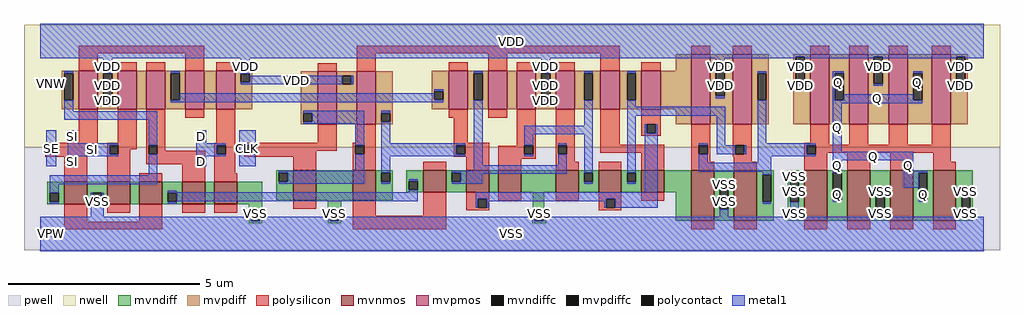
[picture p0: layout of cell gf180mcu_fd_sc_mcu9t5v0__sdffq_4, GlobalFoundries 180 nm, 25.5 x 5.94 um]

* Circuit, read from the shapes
.subckt gf180mcu_fd_sc_mcu9t5v0__sdffq_4 D SE SI CLK Q VDD VNW VPW VSS
XM1 VSS SE n1 VPW nfet_06v0 w=0.58u l=0.6u
XM2 n2 SI VSS VPW nfet_06v0 w=0.58u l=0.6u
XM3 n3 SE n2 VPW nfet_06v0 w=0.58u l=0.6u
XM4 n4 n1 n3 VPW nfet_06v0 w=0.58u l=0.6u
XM5 VSS D n4 VPW nfet_06v0 w=0.58u l=0.6u
XM6 VSS CLK n5 VPW nfet_06v0 w=0.79u l=0.6u
XM7 n6 n5 VSS VPW nfet_06v0 w=0.79u l=0.6u
XM8 n7 n5 n3 VPW nfet_06v0 w=0.58u l=0.6u
XM9 n8 n6 n7 VPW nfet_06v0 w=0.58u l=0.6u
XM10 VSS n9 n8 VPW nfet_06v0 w=0.58u l=0.6u
XM11 n9 n7 VSS VPW nfet_06v0 w=0.58u l=0.6u
XM12 n10 n6 n9 VPW nfet_06v0 w=0.58u l=0.6u
XM13 n11 n5 n10 VPW nfet_06v0 w=0.58u l=0.6u
XM14 VSS n12 n11 VPW nfet_06v0 w=1.32u l=0.6u
XM15 n12 n10 VSS VPW nfet_06v0 w=1.32u l=0.6u
XM16 Q n12 VSS VPW nfet_06v0 w=1.32u l=0.6u m=4
XM17 VDD SE n1 VNW pfet_06v0 w=1u l=0.5u
XM18 n13 SI VDD VNW pfet_06v0 w=1u l=0.5u
XM19 n14 n1 n13 VNW pfet_06v0 w=1u l=0.5u
XM20 n15 SE n14 VNW pfet_06v0 w=1u l=0.5u
XM21 VDD D n15 VNW pfet_06v0 w=1u l=0.5u
XM22 VDD CLK n5 VNW pfet_06v0 w=1.38u l=0.5u
XM23 n6 n5 VDD VNW pfet_06v0 w=1.38u l=0.5u
XM24 n7 n6 n14 VNW pfet_06v0 w=1u l=0.5u
XM25 n16 n5 n7 VNW pfet_06v0 w=1u l=0.5u
XM26 VDD n9 n16 VNW pfet_06v0 w=1u l=0.5u
XM27 n9 n7 VDD VNW pfet_06v0 w=1u l=0.5u
XM28 n10 n5 n9 VNW pfet_06v0 w=1u l=0.5u
XM29 n17 n6 n10 VNW pfet_06v0 w=1u l=0.5u
XM30 VDD n12 n17 VNW pfet_06v0 w=1.83u l=0.5u
XM31 n12 n10 VDD VNW pfet_06v0 w=1.83u l=0.5u
XM32 Q n12 VDD VNW pfet_06v0 w=1.83u l=0.5u m=4
.ends

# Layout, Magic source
magic
tech gf180mcuD
magscale 1 10
<< nwell >>
rect -86 453 5014 1094
<< pwell >>
rect -86 -86 5014 453
<< mvnmos >>
rect 124 156 244 272
rect 348 156 468 272
rect 516 156 636 272
rect 740 156 860 272
rect 908 156 1028 272
rect 1320 175 1440 333
rect 1632 175 1752 333
rect 2000 217 2120 333
rect 2224 217 2344 333
rect 2392 217 2512 333
rect 2692 217 2812 333
rect 2916 217 3036 333
rect 3140 217 3260 333
rect 3400 69 3520 333
rect 3624 69 3744 333
rect 3992 69 4112 333
rect 4216 69 4336 333
rect 4440 69 4560 333
rect 4664 69 4784 333
<< mvpmos >>
rect 200 652 300 852
rect 404 652 504 852
rect 552 652 652 852
rect 756 652 856 852
rect 918 652 1018 852
rect 1448 573 1548 849
rect 1652 573 1752 849
rect 2133 652 2233 852
rect 2340 652 2440 852
rect 2488 652 2588 852
rect 2692 652 2792 852
rect 2926 652 3026 852
rect 3140 652 3240 852
rect 3400 573 3500 939
rect 3618 573 3718 939
rect 4022 573 4122 939
rect 4226 573 4326 939
rect 4432 573 4532 939
rect 4657 573 4757 939
<< mvndiff >>
rect 1232 320 1320 333
rect 1232 274 1245 320
rect 1291 274 1320 320
rect 36 215 124 272
rect 36 169 49 215
rect 95 169 124 215
rect 36 156 124 169
rect 244 215 348 272
rect 244 169 273 215
rect 319 169 348 215
rect 244 156 348 169
rect 468 156 516 272
rect 636 215 740 272
rect 636 169 665 215
rect 711 169 740 215
rect 636 156 740 169
rect 860 156 908 272
rect 1028 156 1160 272
rect 1232 175 1320 274
rect 1440 175 1632 333
rect 1752 320 1840 333
rect 1752 274 1781 320
rect 1827 274 1840 320
rect 1752 175 1840 274
rect 1912 276 2000 333
rect 1912 230 1925 276
rect 1971 230 2000 276
rect 1912 217 2000 230
rect 2120 320 2224 333
rect 2120 274 2149 320
rect 2195 274 2224 320
rect 2120 217 2224 274
rect 2344 217 2392 333
rect 2512 217 2692 333
rect 2812 320 2916 333
rect 2812 274 2841 320
rect 2887 274 2916 320
rect 2812 217 2916 274
rect 3036 320 3140 333
rect 3036 274 3065 320
rect 3111 274 3140 320
rect 3036 217 3140 274
rect 3260 217 3400 333
rect 1088 114 1160 156
rect 1088 68 1101 114
rect 1147 68 1160 114
rect 1088 55 1160 68
rect 1500 114 1572 175
rect 1500 68 1513 114
rect 1559 68 1572 114
rect 1500 55 1572 68
rect 2572 127 2632 217
rect 2572 119 2643 127
rect 2571 114 2643 119
rect 2571 68 2584 114
rect 2630 68 2643 114
rect 3320 69 3400 217
rect 3520 268 3624 333
rect 3520 128 3549 268
rect 3595 128 3624 268
rect 3520 69 3624 128
rect 3744 309 3832 333
rect 3744 169 3773 309
rect 3819 169 3832 309
rect 3744 69 3832 169
rect 3904 309 3992 333
rect 3904 169 3917 309
rect 3963 169 3992 309
rect 3904 69 3992 169
rect 4112 320 4216 333
rect 4112 180 4141 320
rect 4187 180 4216 320
rect 4112 69 4216 180
rect 4336 222 4440 333
rect 4336 82 4365 222
rect 4411 82 4440 222
rect 4336 69 4440 82
rect 4560 320 4664 333
rect 4560 180 4589 320
rect 4635 180 4664 320
rect 4560 69 4664 180
rect 4784 222 4872 333
rect 4784 82 4813 222
rect 4859 82 4872 222
rect 4784 69 4872 82
rect 2571 55 2643 68
<< mvpdiff >>
rect 112 839 200 852
rect 112 699 125 839
rect 171 699 200 839
rect 112 652 200 699
rect 300 839 404 852
rect 300 699 329 839
rect 375 699 404 839
rect 300 652 404 699
rect 504 652 552 852
rect 652 839 756 852
rect 652 699 681 839
rect 727 699 756 839
rect 652 652 756 699
rect 856 652 918 852
rect 1018 838 1106 852
rect 3320 852 3400 939
rect 1018 792 1047 838
rect 1093 792 1106 838
rect 1018 652 1106 792
rect 1360 632 1448 849
rect 1360 586 1373 632
rect 1419 586 1448 632
rect 1360 573 1448 586
rect 1548 827 1652 849
rect 1548 781 1577 827
rect 1623 781 1652 827
rect 1548 573 1652 781
rect 1752 632 1840 849
rect 2045 746 2133 852
rect 2045 700 2058 746
rect 2104 700 2133 746
rect 2045 652 2133 700
rect 2233 839 2340 852
rect 2233 699 2265 839
rect 2311 699 2340 839
rect 2233 652 2340 699
rect 2440 652 2488 852
rect 2588 839 2692 852
rect 2588 699 2617 839
rect 2663 699 2692 839
rect 2588 652 2692 699
rect 2792 839 2926 852
rect 2792 699 2841 839
rect 2887 699 2926 839
rect 2792 652 2926 699
rect 3026 839 3140 852
rect 3026 699 3065 839
rect 3111 699 3140 839
rect 3026 652 3140 699
rect 3240 652 3400 852
rect 1752 586 1781 632
rect 1827 586 1840 632
rect 1752 573 1840 586
rect 3320 573 3400 652
rect 3500 861 3618 939
rect 3500 721 3529 861
rect 3575 721 3618 861
rect 3500 573 3618 721
rect 3718 839 3806 939
rect 3718 699 3747 839
rect 3793 699 3806 839
rect 3718 573 3806 699
rect 3934 926 4022 939
rect 3934 786 3947 926
rect 3993 786 4022 926
rect 3934 573 4022 786
rect 4122 839 4226 939
rect 4122 699 4151 839
rect 4197 699 4226 839
rect 4122 573 4226 699
rect 4326 926 4432 939
rect 4326 786 4355 926
rect 4401 786 4432 926
rect 4326 573 4432 786
rect 4532 839 4657 939
rect 4532 699 4561 839
rect 4607 699 4657 839
rect 4532 573 4657 699
rect 4757 926 4845 939
rect 4757 786 4786 926
rect 4832 786 4845 926
rect 4757 573 4845 786
<< mvndiffc >>
rect 1245 274 1291 320
rect 49 169 95 215
rect 273 169 319 215
rect 665 169 711 215
rect 1781 274 1827 320
rect 1925 230 1971 276
rect 2149 274 2195 320
rect 2841 274 2887 320
rect 3065 274 3111 320
rect 1101 68 1147 114
rect 1513 68 1559 114
rect 2584 68 2630 114
rect 3549 128 3595 268
rect 3773 169 3819 309
rect 3917 169 3963 309
rect 4141 180 4187 320
rect 4365 82 4411 222
rect 4589 180 4635 320
rect 4813 82 4859 222
<< mvpdiffc >>
rect 125 699 171 839
rect 329 699 375 839
rect 681 699 727 839
rect 1047 792 1093 838
rect 1373 586 1419 632
rect 1577 781 1623 827
rect 2058 700 2104 746
rect 2265 699 2311 839
rect 2617 699 2663 839
rect 2841 699 2887 839
rect 3065 699 3111 839
rect 1781 586 1827 632
rect 3529 721 3575 861
rect 3747 699 3793 839
rect 3947 786 3993 926
rect 4151 699 4197 839
rect 4355 786 4401 926
rect 4561 699 4607 839
rect 4786 786 4832 926
<< polysilicon >>
rect 200 944 856 984
rect 200 852 300 944
rect 404 852 504 896
rect 552 852 652 896
rect 756 852 856 944
rect 1652 944 3026 984
rect 918 852 1018 896
rect 1448 849 1548 893
rect 1652 849 1752 944
rect 2133 852 2233 896
rect 2340 852 2440 944
rect 2488 852 2588 896
rect 2692 852 2792 896
rect 2926 852 3026 944
rect 3400 939 3500 983
rect 3618 939 3718 983
rect 4022 939 4122 983
rect 4226 939 4326 983
rect 4432 939 4532 983
rect 4657 939 4757 983
rect 3140 852 3240 896
rect 200 476 300 652
rect 404 476 504 652
rect 24 463 300 476
rect 24 417 37 463
rect 83 419 300 463
rect 348 463 504 476
rect 83 417 244 419
rect 24 404 244 417
rect 124 272 244 404
rect 348 417 361 463
rect 407 443 504 463
rect 552 463 652 652
rect 756 608 856 652
rect 918 476 1018 652
rect 2133 608 2233 652
rect 2340 608 2440 652
rect 1448 476 1548 573
rect 1652 476 1752 573
rect 407 417 468 443
rect 348 272 468 417
rect 552 417 565 463
rect 611 436 652 463
rect 908 463 1018 476
rect 611 417 860 436
rect 552 364 860 417
rect 516 272 636 316
rect 740 272 860 364
rect 908 417 921 463
rect 967 417 1018 463
rect 908 316 1018 417
rect 1066 463 1548 476
rect 1066 417 1079 463
rect 1125 436 1548 463
rect 1632 463 1752 476
rect 1125 417 1440 436
rect 1066 404 1440 417
rect 1320 333 1440 404
rect 1632 417 1645 463
rect 1691 417 1752 463
rect 1632 333 1752 417
rect 2160 476 2233 608
rect 2160 463 2344 476
rect 2160 417 2173 463
rect 2219 417 2344 463
rect 2488 463 2588 652
rect 2488 461 2529 463
rect 2160 404 2344 417
rect 2000 333 2120 377
rect 2224 333 2344 404
rect 2392 417 2529 461
rect 2575 417 2588 463
rect 2392 393 2588 417
rect 2692 463 2792 652
rect 2692 417 2705 463
rect 2751 417 2792 463
rect 2926 465 3026 652
rect 3140 572 3240 652
rect 3140 526 3168 572
rect 3214 526 3240 572
rect 3140 513 3240 526
rect 2926 425 3260 465
rect 2392 333 2512 393
rect 2692 377 2792 417
rect 2692 333 2812 377
rect 2916 333 3036 377
rect 3140 333 3260 425
rect 3400 463 3500 573
rect 3400 417 3441 463
rect 3487 417 3500 463
rect 3400 377 3500 417
rect 3618 463 3718 573
rect 4022 476 4122 573
rect 3618 417 3631 463
rect 3677 417 3718 463
rect 3618 406 3718 417
rect 3624 377 3718 406
rect 3992 465 4122 476
rect 4226 465 4326 573
rect 4432 465 4532 573
rect 4657 465 4757 573
rect 3992 463 4757 465
rect 3992 417 4005 463
rect 4051 425 4757 463
rect 4051 417 4112 425
rect 3400 333 3520 377
rect 3624 333 3744 377
rect 3992 333 4112 417
rect 4216 333 4336 425
rect 4440 333 4560 425
rect 4664 377 4757 425
rect 4664 333 4784 377
rect 908 272 1028 316
rect 124 64 244 156
rect 348 112 468 156
rect 516 64 636 156
rect 740 112 860 156
rect 908 112 1028 156
rect 1320 131 1440 175
rect 124 24 636 64
rect 1632 96 1752 175
rect 2000 96 2120 217
rect 2224 184 2344 217
rect 2224 138 2285 184
rect 2331 138 2344 184
rect 2392 173 2512 217
rect 2224 125 2344 138
rect 2692 173 2812 217
rect 2916 184 3036 217
rect 2916 138 2957 184
rect 3003 138 3036 184
rect 3140 173 3260 217
rect 2916 125 3036 138
rect 1632 24 2120 96
rect 3400 25 3520 69
rect 3624 25 3744 69
rect 3992 25 4112 69
rect 4216 25 4336 69
rect 4440 25 4560 69
rect 4664 25 4784 69
<< polycontact >>
rect 37 417 83 463
rect 361 417 407 463
rect 565 417 611 463
rect 921 417 967 463
rect 1079 417 1125 463
rect 1645 417 1691 463
rect 2173 417 2219 463
rect 2529 417 2575 463
rect 2705 417 2751 463
rect 3168 526 3214 572
rect 3441 417 3487 463
rect 3631 417 3677 463
rect 4005 417 4051 463
rect 2285 138 2331 184
rect 2957 138 3003 184
<< metal1 >>
rect 0 926 4928 1098
rect 0 918 3947 926
rect 125 839 171 850
rect 125 642 171 699
rect 329 839 375 918
rect 329 688 375 699
rect 681 839 727 850
rect 1047 838 1093 918
rect 2265 839 2311 850
rect 1093 792 1577 827
rect 1047 781 1577 792
rect 1623 781 1634 827
rect 2058 746 2104 757
rect 727 700 2058 735
rect 727 699 2104 700
rect 681 689 2104 699
rect 681 688 727 689
rect 125 596 611 642
rect 30 463 83 542
rect 30 417 37 463
rect 30 354 83 417
rect 142 474 194 542
rect 142 463 407 474
rect 142 417 361 463
rect 142 406 407 417
rect 565 463 611 596
rect 1373 632 1691 643
rect 1419 586 1691 632
rect 1373 575 1691 586
rect 142 354 194 406
rect 565 307 611 417
rect 814 474 866 542
rect 814 463 967 474
rect 814 417 921 463
rect 814 406 967 417
rect 1038 463 1125 542
rect 1038 417 1079 463
rect 814 354 866 406
rect 1038 354 1125 417
rect 1645 463 1691 575
rect 1645 331 1691 417
rect 49 261 611 307
rect 1245 320 1691 331
rect 1291 274 1691 320
rect 1245 263 1691 274
rect 1781 632 1827 643
rect 1781 474 1827 586
rect 1781 463 2219 474
rect 1781 417 2173 463
rect 1781 406 2219 417
rect 1781 320 1827 406
rect 2265 360 2311 699
rect 2617 839 2663 918
rect 3529 861 3575 918
rect 2617 688 2663 699
rect 2841 839 2887 850
rect 2841 566 2887 699
rect 2529 520 2887 566
rect 2529 463 2575 520
rect 2529 406 2575 417
rect 2705 463 2751 474
rect 2705 360 2751 417
rect 2265 331 2751 360
rect 2149 320 2751 331
rect 1781 263 1827 274
rect 1925 276 1971 287
rect 49 215 95 261
rect 2195 314 2751 320
rect 2841 320 2887 520
rect 2195 274 2308 314
rect 2149 263 2308 274
rect 2841 263 2887 274
rect 3065 839 3111 850
rect 3529 710 3575 721
rect 3747 839 3793 850
rect 3065 664 3111 699
rect 3993 918 4355 926
rect 3947 775 3993 786
rect 4141 839 4197 850
rect 3065 618 3579 664
rect 3065 320 3111 618
rect 3065 263 3111 274
rect 3157 526 3168 572
rect 3214 526 3225 572
rect 665 217 711 226
rect 1925 217 1971 230
rect 3157 217 3225 526
rect 3441 463 3487 474
rect 3533 463 3579 618
rect 3747 474 3793 699
rect 4141 699 4151 839
rect 4401 918 4786 926
rect 4355 775 4401 786
rect 4561 839 4607 850
rect 4197 699 4561 729
rect 4832 918 4928 926
rect 4786 775 4832 786
rect 4141 683 4607 699
rect 3747 463 4051 474
rect 3533 417 3631 463
rect 3677 417 3688 463
rect 3747 417 4005 463
rect 3441 371 3487 417
rect 3747 406 4051 417
rect 4141 430 4187 683
rect 3747 371 3819 406
rect 3441 325 3819 371
rect 3773 309 3819 325
rect 4141 384 4562 430
rect 4141 320 4187 384
rect 665 215 1971 217
rect 49 158 95 169
rect 262 169 273 215
rect 319 169 330 215
rect 262 90 330 169
rect 711 171 1971 215
rect 2274 184 3225 217
rect 665 158 711 169
rect 2274 138 2285 184
rect 2331 171 2957 184
rect 2331 138 2342 171
rect 2946 138 2957 171
rect 3003 138 3225 184
rect 3549 268 3595 279
rect 3773 158 3819 169
rect 3917 309 3963 320
rect 4510 331 4562 384
rect 4510 320 4635 331
rect 4510 242 4589 320
rect 4141 169 4187 180
rect 4365 222 4411 233
rect 1101 114 1147 125
rect 0 68 1101 90
rect 1513 114 1559 125
rect 1147 68 1513 90
rect 2584 114 2630 125
rect 1559 68 2584 90
rect 3549 90 3595 128
rect 3917 90 3963 169
rect 2630 82 4365 90
rect 4589 169 4635 180
rect 4813 222 4859 233
rect 4411 82 4813 90
rect 4859 82 4928 90
rect 2630 68 4928 82
rect 0 -90 4928 68
<< labels >>
flabel metal1 s 1038 354 1125 542 0 FreeSans 200 0 0 0 CLK
port 4 nsew clock input
flabel metal1 s 814 474 866 542 0 FreeSans 200 0 0 0 D
port 1 nsew default input
flabel metal1 s 4561 729 4607 850 0 FreeSans 200 0 0 0 Q
port 5 nsew default output
flabel metal1 s 30 354 83 542 0 FreeSans 200 0 0 0 SE
port 2 nsew default input
flabel metal1 s 142 474 194 542 0 FreeSans 200 0 0 0 SI
port 3 nsew default input
flabel metal1 s 0 918 4928 1098 0 FreeSans 200 0 0 0 VDD
port 6 nsew power bidirectional abutment
flabel metal1 s 3917 279 3963 320 0 FreeSans 200 0 0 0 VSS
port 9 nsew ground bidirectional abutment
flabel nwell s 10 734 110 834 0 FreeSans 400 0 0 0 VNW
port 7 nsew power bidirectional
flabel pwell s 10 -50 110 50 0 FreeSans 400 0 0 0 VPW
port 8 nsew ground bidirectional
rlabel metal1 s 814 406 967 474 1 D
port 1 nsew default input
rlabel metal1 s 814 354 866 406 1 D
port 1 nsew default input
rlabel metal1 s 142 406 407 474 1 SI
port 3 nsew default input
rlabel metal1 s 142 354 194 406 1 SI
port 3 nsew default input
rlabel metal1 s 4141 729 4197 850 1 Q
port 5 nsew default output
rlabel metal1 s 4141 683 4607 729 1 Q
port 5 nsew default output
rlabel metal1 s 4141 430 4187 683 1 Q
port 5 nsew default output
rlabel metal1 s 4141 384 4562 430 1 Q
port 5 nsew default output
rlabel metal1 s 4510 331 4562 384 1 Q
port 5 nsew default output
rlabel metal1 s 4141 331 4187 384 1 Q
port 5 nsew default output
rlabel metal1 s 4510 242 4635 331 1 Q
port 5 nsew default output
rlabel metal1 s 4141 242 4187 331 1 Q
port 5 nsew default output
rlabel metal1 s 4589 169 4635 242 1 Q
port 5 nsew default output
rlabel metal1 s 4141 169 4187 242 1 Q
port 5 nsew default output
rlabel metal1 s 4786 827 4832 918 1 VDD
port 6 nsew power bidirectional abutment
rlabel metal1 s 4355 827 4401 918 1 VDD
port 6 nsew power bidirectional abutment
rlabel metal1 s 3947 827 3993 918 1 VDD
port 6 nsew power bidirectional abutment
rlabel metal1 s 3529 827 3575 918 1 VDD
port 6 nsew power bidirectional abutment
rlabel metal1 s 2617 827 2663 918 1 VDD
port 6 nsew power bidirectional abutment
rlabel metal1 s 1047 827 1093 918 1 VDD
port 6 nsew power bidirectional abutment
rlabel metal1 s 329 827 375 918 1 VDD
port 6 nsew power bidirectional abutment
rlabel metal1 s 4786 781 4832 827 1 VDD
port 6 nsew power bidirectional abutment
rlabel metal1 s 4355 781 4401 827 1 VDD
port 6 nsew power bidirectional abutment
rlabel metal1 s 3947 781 3993 827 1 VDD
port 6 nsew power bidirectional abutment
rlabel metal1 s 3529 781 3575 827 1 VDD
port 6 nsew power bidirectional abutment
rlabel metal1 s 2617 781 2663 827 1 VDD
port 6 nsew power bidirectional abutment
rlabel metal1 s 1047 781 1634 827 1 VDD
port 6 nsew power bidirectional abutment
rlabel metal1 s 329 781 375 827 1 VDD
port 6 nsew power bidirectional abutment
rlabel metal1 s 4786 775 4832 781 1 VDD
port 6 nsew power bidirectional abutment
rlabel metal1 s 4355 775 4401 781 1 VDD
port 6 nsew power bidirectional abutment
rlabel metal1 s 3947 775 3993 781 1 VDD
port 6 nsew power bidirectional abutment
rlabel metal1 s 3529 775 3575 781 1 VDD
port 6 nsew power bidirectional abutment
rlabel metal1 s 2617 775 2663 781 1 VDD
port 6 nsew power bidirectional abutment
rlabel metal1 s 329 775 375 781 1 VDD
port 6 nsew power bidirectional abutment
rlabel metal1 s 3529 710 3575 775 1 VDD
port 6 nsew power bidirectional abutment
rlabel metal1 s 2617 710 2663 775 1 VDD
port 6 nsew power bidirectional abutment
rlabel metal1 s 329 710 375 775 1 VDD
port 6 nsew power bidirectional abutment
rlabel metal1 s 2617 688 2663 710 1 VDD
port 6 nsew power bidirectional abutment
rlabel metal1 s 329 688 375 710 1 VDD
port 6 nsew power bidirectional abutment
rlabel metal1 s 3917 233 3963 279 1 VSS
port 9 nsew ground bidirectional abutment
rlabel metal1 s 3549 233 3595 279 1 VSS
port 9 nsew ground bidirectional abutment
rlabel metal1 s 4813 215 4859 233 1 VSS
port 9 nsew ground bidirectional abutment
rlabel metal1 s 4365 215 4411 233 1 VSS
port 9 nsew ground bidirectional abutment
rlabel metal1 s 3917 215 3963 233 1 VSS
port 9 nsew ground bidirectional abutment
rlabel metal1 s 3549 215 3595 233 1 VSS
port 9 nsew ground bidirectional abutment
rlabel metal1 s 4813 125 4859 215 1 VSS
port 9 nsew ground bidirectional abutment
rlabel metal1 s 4365 125 4411 215 1 VSS
port 9 nsew ground bidirectional abutment
rlabel metal1 s 3917 125 3963 215 1 VSS
port 9 nsew ground bidirectional abutment
rlabel metal1 s 3549 125 3595 215 1 VSS
port 9 nsew ground bidirectional abutment
rlabel metal1 s 262 125 330 215 1 VSS
port 9 nsew ground bidirectional abutment
rlabel metal1 s 4813 90 4859 125 1 VSS
port 9 nsew ground bidirectional abutment
rlabel metal1 s 4365 90 4411 125 1 VSS
port 9 nsew ground bidirectional abutment
rlabel metal1 s 3917 90 3963 125 1 VSS
port 9 nsew ground bidirectional abutment
rlabel metal1 s 3549 90 3595 125 1 VSS
port 9 nsew ground bidirectional abutment
rlabel metal1 s 2584 90 2630 125 1 VSS
port 9 nsew ground bidirectional abutment
rlabel metal1 s 1513 90 1559 125 1 VSS
port 9 nsew ground bidirectional abutment
rlabel metal1 s 1101 90 1147 125 1 VSS
port 9 nsew ground bidirectional abutment
rlabel metal1 s 262 90 330 125 1 VSS
port 9 nsew ground bidirectional abutment
rlabel metal1 s 0 -90 4928 90 1 VSS
port 9 nsew ground bidirectional abutment
<< properties >>
string FIXED_BBOX 0 0 4928 1008
string GDS_END 333414
string GDS_FILE $PDKPATH/libs.ref/gf180mcu_fd_sc_mcu9t5v0/gds/gf180mcu_fd_sc_mcu9t5v0.gds
string GDS_START 322692
string LEFclass core
string LEFsite GF018hv5v_green_sc9
string LEFsymmetry X Y
<< end >>
